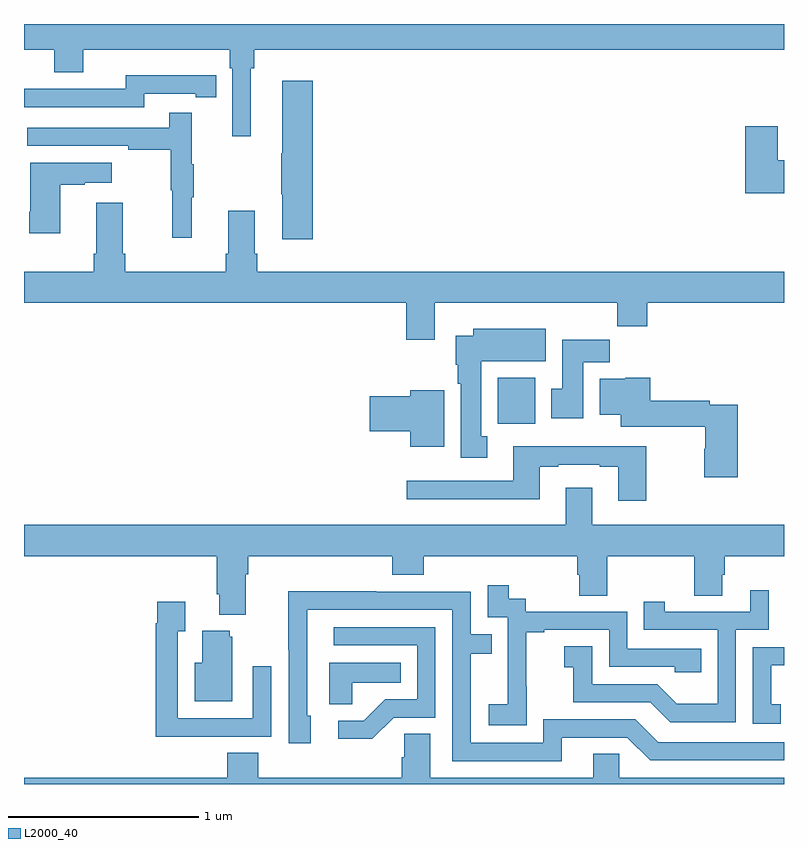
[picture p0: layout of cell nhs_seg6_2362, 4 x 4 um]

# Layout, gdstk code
import gdstk
lib = gdstk.Library(unit=1e-6, precision=1e-09)
def R(c, l, rs):  # rectangles x0, y0, x1, y1
    for r in rs: c.add(gdstk.rectangle(r[:2], r[2:], *l))
def P(c, l, *ps):  # polygons
    for p in ps: c.add(gdstk.Polygon(p, *l))
L2000_40 = (2000, 40)

nhs_seg6_2362 = lib.new_cell('nhs_seg6_2362')
R(nhs_seg6_2362, L2000_40, [(255.494,917.396,255.691,917.638)])
P(nhs_seg6_2362, L2000_40, [(254.194,919.268),(254.213,919.268),(254.213,919.364),(257,919.364),(257,919.5),(253,919.5),(253,919.364),(253.16,919.364),(253.16,919.247),(253.312,919.247),(253.312,919.364),(254.084,919.364),(254.084,919.268),(254.097,919.268),(254.097,918.909),(254.194,918.909)],
  [(253.632,919.134),(253.904,919.134),(253.904,919.114),(254.012,919.114),(254.012,919.23),(253.904,919.23),(253.904,919.231),(253.536,919.231),(253.536,919.158),(253.076,919.158),(253.076,919.16),(253,919.16),(253,919.062),(253.632,919.062)],
  [(254.519,919.201),(254.36,919.201),(254.36,918.821),(254.353,918.821),(254.353,918.604),(254.36,918.604),(254.36,918.366),(254.519,918.366)],
  [(253.883,918.587),(253.894,918.587),(253.894,918.761),(253.883,918.761),(253.883,919.033),(253.765,919.033),(253.765,918.954),(253.017,918.954),(253.017,918.858),(253.549,918.858),(253.549,918.838),(253.773,918.838),(253.773,918.624),(253.78,918.624),(253.78,918.375),(253.883,918.375)],
  [(257,918.784),(256.966,918.784),(256.966,918.961),(256.796,918.961),(256.796,918.608),(257,918.608)],
  [(253.192,918.655),(253.319,918.655),(253.319,918.665),(253.462,918.665),(253.462,918.769),(253.034,918.769),(253.034,918.511),(253.027,918.511),(253.027,918.399),(253.192,918.399)],
  [(255.163,918.032),(256.123,918.032),(256.123,917.908),(256.279,917.908),(256.279,918.032),(257,918.032),(257,918.196),(254.228,918.196),(254.228,918.292),(254.215,918.292),(254.215,918.517),(254.075,918.517),(254.075,918.292),(254.063,918.292),(254.063,918.196),(253.532,918.196),(253.532,918.292),(253.519,918.292),(253.519,918.559),(253.379,918.559),(253.379,918.292),(253.367,918.292),(253.367,918.196),(253,918.196),(253,918.032),(255.011,918.032),(255.011,917.838),(255.163,917.838)],
  [(255.439,917.33),(255.406,917.33),(255.406,917.726),(255.745,917.726),(255.745,917.896),(255.365,917.896),(255.365,917.86),(255.272,917.86),(255.272,917.706),(255.284,917.706),(255.284,917.606),(255.299,917.606),(255.299,917.217),(255.439,917.217)],
  [(255.943,917.72),(256.082,917.72),(256.082,917.838),(255.833,917.838),(255.833,917.58),(255.776,917.58),(255.776,917.424),(255.943,917.424)],
  [(256.757,917.496),(256.61,917.496),(256.61,917.516),(256.295,917.516),(256.295,917.638),(256.164,917.638),(256.164,917.632),(256.031,917.632),(256.031,917.444),(256.142,917.444),(256.142,917.38),(256.586,917.38),(256.586,917.265),(256.579,917.265),(256.579,917.115),(256.757,917.115)],
  [(255.211,917.572),(255.032,917.572),(255.032,917.54),(254.82,917.54),(254.82,917.357),(255.032,917.357),(255.032,917.276),(255.211,917.276)],
  [(256.275,917.278),(255.575,917.278),(255.575,917.097),(255.015,917.097),(255.015,917),(255.715,917),(255.715,917.169),(255.811,917.169),(255.811,917.181),(256.031,917.181),(256.031,917.169),(256.127,917.169),(256.127,916.992),(256.275,916.992)],
  [(254.167,916.604),(254.18,916.604),(254.18,916.7),(254.939,916.7),(254.939,916.601),(255.104,916.601),(255.104,916.7),(255.911,916.7),(255.911,916.602),(255.923,916.602),(255.923,916.492),(256.071,916.492),(256.071,916.7),(256.528,916.7),(256.528,916.492),(256.675,916.492),(256.675,916.602),(256.688,916.602),(256.688,916.7),(257,916.7),(257,916.864),(255.991,916.864),(255.991,917.059),(255.851,917.059),(255.851,916.864),(253,916.864),(253,916.7),(254.015,916.7),(254.015,916.498),(254.027,916.498),(254.027,916.391),(254.167,916.391)],
  [(255.645,916.015),(255.644,916.015),(255.644,916.299),(255.739,916.299),(255.739,916.311),(256.08,916.311),(256.08,916.116),(256.425,916.116),(256.425,916.089),(256.565,916.089),(256.565,916.212),(256.176,916.212),(256.176,916.407),(255.642,916.407),(255.642,916.476),(255.55,916.476),(255.55,916.546),(255.441,916.546),(255.441,916.377),(255.546,916.377),(255.546,916.148),(255.545,916.148),(255.545,915.919),(255.447,915.919),(255.447,915.809),(255.645,915.809)],
  [(256.746,916.311),(256.92,916.311),(256.92,916.519),(256.823,916.519),(256.823,916.407),(256.372,916.407),(256.372,916.459),(256.261,916.459),(256.261,916.311),(256.65,916.311),(256.65,915.922),(256.436,915.922),(256.332,916.026),(255.99,916.026),(255.99,916.225),(255.843,916.225),(255.843,916.115),(255.892,916.115),(255.892,915.93),(256.295,915.93),(256.4,915.825),(256.746,915.825)],
  [(255.829,915.744),(256.176,915.744),(256.296,915.624),(257,915.624),(257,915.72),(256.338,915.72),(256.218,915.84),(255.732,915.84),(255.732,915.717),(255.351,915.717),(255.351,916.186),(255.461,916.186),(255.461,916.287),(255.351,916.287),(255.351,916.512),(254.855,916.512),(254.855,916.514),(254.392,916.514),(254.392,916.207),(254.394,916.207),(254.394,915.714),(254.509,915.714),(254.509,915.858),(254.49,915.858),(254.49,916.416),(255.255,916.416),(255.255,915.621),(255.829,915.621)],
  [(253.985,915.75),(254.301,915.75),(254.301,916.12),(254.205,916.12),(254.205,915.846),(253.809,915.846),(253.809,916.303),(253.849,916.303),(253.849,916.459),(253.701,916.459),(253.701,916.346),(253.693,916.346),(253.693,915.749),(253.985,915.749)],
  [(254.946,915.849),(255.165,915.849),(255.165,916.326),(254.631,916.326),(254.631,916.23),(255.069,916.23),(255.069,915.945),(254.9,915.945),(254.789,915.834),(254.655,915.834),(254.655,915.737),(254.833,915.737)],
  [(254.095,916.275),(254.084,916.275),(254.084,916.306),(253.937,916.306),(253.937,916.138),(253.898,916.138),(253.898,915.935),(254.095,915.935)],
  [(256.982,915.921),(256.933,915.921),(256.933,916.125),(257,916.125),(257,916.221),(256.836,916.221),(256.836,915.816),(256.982,915.816)],
  [(254.727,916.034),(254.984,916.034),(254.984,916.138),(254.606,916.138),(254.606,915.919),(254.727,915.919)],
  [(257,915.532),(256.134,915.532),(256.134,915.659),(255.995,915.659),(255.995,915.532),(255.139,915.532),(255.139,915.764),(255,915.764),(255,915.641),(254.987,915.641),(254.987,915.532),(254.234,915.532),(254.234,915.665),(254.069,915.665),(254.069,915.532),(253,915.532),(253,915.5),(257,915.5)])

lib.write_gds('nhs_seg6_2362.gds')
